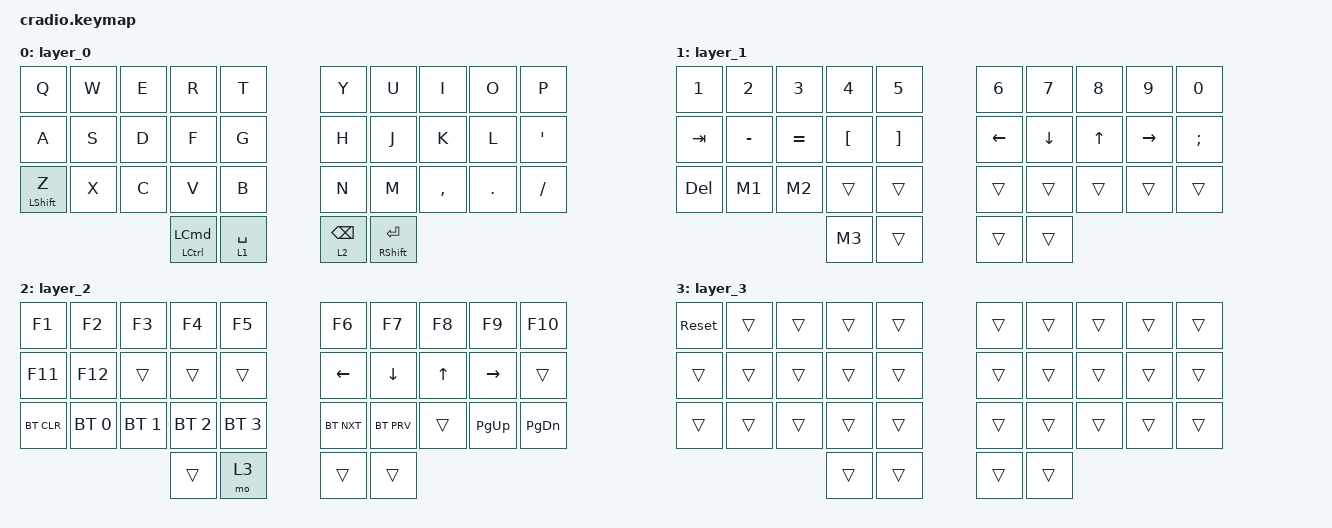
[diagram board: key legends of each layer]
#include <behaviors.dtsi>
#include <dt-bindings/zmk/bt.h>
#include <dt-bindings/zmk/keys.h>

/ {
    combos {
        compatible = "zmk,combos";

        Esc {
            bindings = <&kp ESCAPE>;
            key-positions = <0 1>;
        };
    };

    macros {
        M1: M1 {
            compatible = "zmk,behavior-macro";
            #binding-cells = <0>;
            bindings = <&kp LS(LG(S))>;
            label = "M1";
        };

        M2: M2 {
            compatible = "zmk,behavior-macro";
            #binding-cells = <0>;
            bindings = <&kp LC(LS(R))>;
            label = "M2";
        };

        M3: M3 {
            compatible = "zmk,behavior-macro";
            #binding-cells = <0>;
            bindings = <&kp LC(LA(DEL))>;
            label = "M3";
        };
    };

    keymap {
        compatible = "zmk,keymap";

        layer_0 {
            bindings = <
&kp Q        &kp W  &kp E  &kp R           &kp T          &kp Y            &kp U                  &kp I      &kp O       &kp P
&kp A        &kp S  &kp D  &kp F           &kp G          &kp H            &kp J                  &kp K      &kp L       &kp SQT
&mt LSHFT Z  &kp X  &kp C  &kp V           &kp B          &kp N            &kp M                  &kp COMMA  &kp PERIOD  &kp SLASH
                           &mt LCTRL LCMD  &lt 1 SPACE    &lt 2 BACKSPACE  &mt RIGHT_SHIFT ENTER
            >;
        };

        layer_1 {
            bindings = <
&kp N1   &kp N2     &kp N3     &kp N4    &kp N5      &kp N6    &kp N7    &kp N8        &kp N9     &kp N0
&kp TAB  &kp MINUS  &kp EQUAL  &kp LBKT  &kp RBKT    &kp LEFT  &kp DOWN  &kp UP_ARROW  &kp RIGHT  &kp SEMI
&kp DEL  &M1        &M2        &trans    &trans      &trans    &trans    &trans        &trans     &trans
                               &M3       &trans      &trans    &trans
            >;
        };

        layer_2 {
            bindings = <
&kp F1      &kp F2        &kp F3        &kp F4        &kp F5          &kp F6      &kp F7      &kp F8        &kp F9       &kp F10
&kp F11     &kp F12       &trans        &trans        &trans          &kp LEFT    &kp DOWN    &kp UP_ARROW  &kp RIGHT    &trans
&bt BT_CLR  &bt BT_SEL 0  &bt BT_SEL 1 &bt BT_SEL 2  &bt BT_SEL 3    &bt BT_NXT  &bt BT_PRV  &trans        &kp PAGE_UP  &kp PAGE_DOWN
                                        &trans        &mo 3           &trans      &trans
            >;
        };

        layer_3 {
            bindings = <
&sys_reset  &trans  &trans  &trans  &trans    &trans  &trans  &trans  &trans  &trans
&trans      &trans  &trans  &trans  &trans    &trans  &trans  &trans  &trans  &trans
&trans      &trans  &trans  &trans  &trans    &trans  &trans  &trans  &trans  &trans
                            &trans  &trans    &trans  &trans
            >;
        };
    };
};
